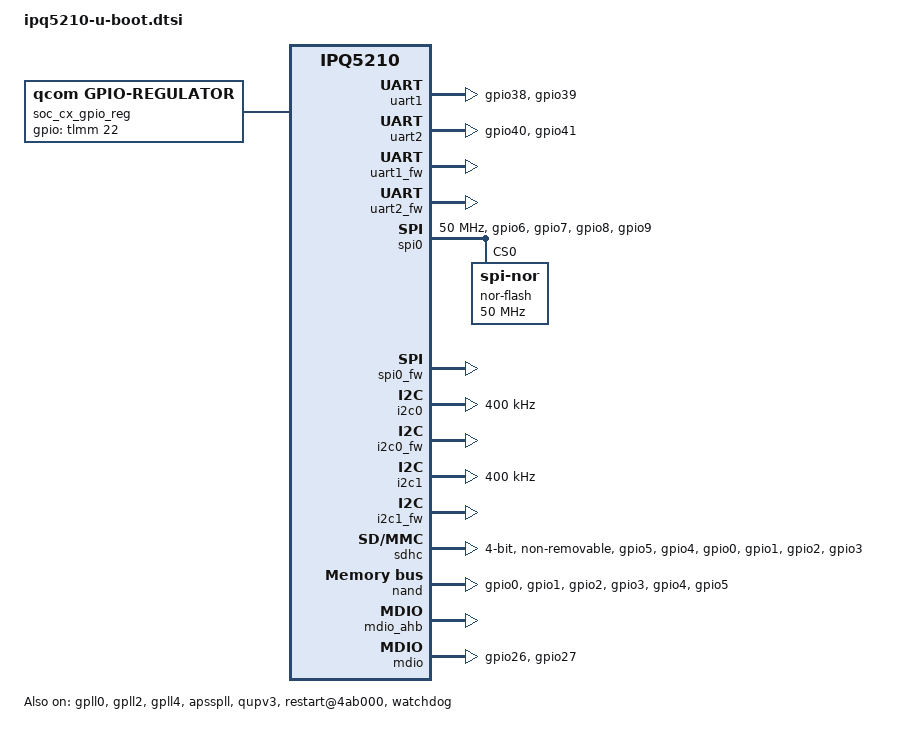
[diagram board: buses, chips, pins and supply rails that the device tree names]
// SPDX-License-Identifier: GPL-2.0+
/*
 * Copyright (c) Qualcomm Technologies, Inc. and/or its subsidiaries.
 */

#include <dt-bindings/interrupt-controller/arm-gic.h>
#include <asm/arch/dt-bindings/clock/qcom,ipq5210-gcc.h>
#include <asm/arch/dt-bindings/reset/qcom,ipq5210-gcc.h>
#include <dt-bindings/gpio/gpio.h>
#include <dt-bindings/net/qcom_ipqsoc.h>
/ {
	bootph-all;

	#address-cells = <2>;
	#size-cells = <2>;
	interrupt-parent = <&intc>;

	aliases {
		uart2 = &uart2;
	};

	clocks {
		sleep_clk: sleep-clk {
			compatible = "fixed-clock";
			#clock-cells = <0>;
			clock-frequency = <32000>;
		};
	};

	chosen {
		stdout-path = "serial0:115200n8";
#ifdef CONFIG_BOOT_BANK_FIXUP
		u-boot,booted-bank = "unknown,bootbank";
#endif
	};

	reserved-memory {
		#address-cells = <2>;
		#size-cells = <2>;
		ranges;

		/delete-node/ smem;
		smem_mem: smem_region@87c00000 {
			bootph-all;
			reg = <0x0 0x87c00000 0x0 0x40000>;
			no-map;
		};

		optee@87d80000 {
			reg = <0x0 0x87d80000 0x0 0x280000>;
			no-map;
		};
	};

	firmware {
		optee {
			compatible = "linaro,optee-tz";
			method = "smc";
			status = "disabled";
		};
	};

	smem {
		bootph-all;
		compatible = "qcom,smem";
		memory-region = <&smem_mem>;
	};

	psci {
		compatible = "arm,psci-1.0";
		method = "smc";
	};

	soc_cx_gpio_reg: soc-cx-gpio-regulator {
		bootph-pre-ram;
		compatible = "qcom,gpio-regulator";
		regulator-name = "soc_cx";
		regulator-min-microvolt = <850000>;
		regulator-max-microvolt = <920000>;
		gpios = <&tlmm 22 GPIO_ACTIVE_HIGH>;
		states = <
			850000 0x0
			920000 0x1
		>;
	};

	voltage_control: voltage-control {
		bootph-pre-ram;
		compatible = "qcom,ipq5210-fuse-voltage-control",
			     "qcom,fuse-voltage-control";

		soc_cx_vc: soc_cx {
			bootph-pre-ram;
			qcom,rail-name = "soc_cx";
			qcom,backend = "gpio";
			qcom,mode = "nominal";
			regulator = <&soc_cx_gpio_reg>;
		};
	};

	soc@0 {
		bootph-all;
		compatible = "simple-bus";
		#address-cells = <2>;
		#size-cells = <2>;
		ranges = <0 0 0 0 0x10 0>;

		tlmm: pinctrl@1000000 {
			bootph-all;
			compatible = "qcom,ipq5210-tlmm";
			reg = <0 0x01000000 0 0x300000>;
			gpio-controller;
			#gpio-cells = <2>;
			gpio-ranges = <&tlmm 0 0 53>;
			interrupt-controller;
			#interrupt-cells = <2>;

			uart1_pins: uart1-state {
				bootph-all;

				rx-pins {
					pins = "gpio38";
					function = "qup_se1_l3";
					drive-strength = <6>;
					bias-pull-down;
					bootph-all;
				};

				tx-pins {
					pins = "gpio39";
					function = "qup_se1_l2";
					drive-strength = <6>;
					bias-pull-down;
					bootph-all;
				};
			};

			uart2_pins: uart2-state {
				tx-pins {
					pins = "gpio40";
					function = "qup_se4_l2";
					drive-strength = <6>;
					bias-pull-down;
					bootph-all;
				};

				rx-pins {
					pins = "gpio41";
					function = "qup_se4_l3";
					drive-strength = <6>;
					bias-pull-down;
					bootph-all;
				};
			};

		};

		intc: interrupt-controller@b000000 {
			bootph-all;
			compatible = "qcom,msm-qgic2";
			interrupt-controller;
			#interrupt-cells = <3>;
			reg = <0 0xb000000 0 0x1000>,  /*GICD*/
				<0 0xb002000 0 0x1000>,  /*GICC*/
				<0 0xb001000 0 0x1000>,  /*GICH*/
				<0 0xb004000 0 0x1000>;  /*GICV*/
			interrupts = <GIC_PPI 9 IRQ_TYPE_LEVEL_HIGH>;
			#address-cells = <1>;
			#size-cells = <1>;
		};

		tmel_qmp: tmel-qmp@32090000 {
			bootph-all;
			compatible = "qcom,tmel-qmp-mbox";
			reg = <0x0 0x32090000 0x0 0x20>,
			      <0x0 0x32091000 0x0 0x20>;
			reg-names = "mcore", "ucore";

			interrupts = <GIC_SPI 73 IRQ_TYPE_EDGE_RISING>;
			max_pkt_size = <0x18>;

			#mbox-cells = <0>;
			status = "disabled";
		};

		tmelcom: qcom,tmelcom {
			bootph-all;
			compatible = "qcom,tmelcom";
			mboxes = <&tmel_qmp>;
			mbox-names = "tmel-qmp-mbox";
			#clock-cells = <1>;
			#power-domain-cells = <1>;
			#reset-cells = <1>;
			status = "disabled";
		};

		gcc: clock-controller@1800000 {
			bootph-all;
			compatible = "qcom,ipq5210-gcc";
			reg = <0 0x01800000 0 0x40000>;
			#clock-cells = <1>;
			#reset-cells = <1>;
			#power-domain-cells = <1>;
		};

		gpll0: pll@1820000 {
			bootph-pre-ram;
			compatible = "qcom,ipq5210-clk-pll",
					"qcom,ipq-clk-pll";
			reg = <0 0x01820000 0 0x1000>;
			#clock-cells = <0>;
			clock-output-names = "gpll0";
			fsm-vote-addr = <0x0180B000>;
			fsm-vote-mask = <0x1>;
			status = "okay";
		};

		gpll2: pll@1821000 {
			bootph-pre-ram;
			compatible = "qcom,ipq5210-clk-pll",
					"qcom,ipq-clk-pll";
			reg = <0 0x01821000 0 0x1000>;
			#clock-cells = <0>;
			clock-output-names = "gpll2";
			fsm-vote-addr = <0x0180B000>;
			fsm-vote-mask = <0x2>;
			status = "okay";
		};

		gpll4: pll@1822000 {
			bootph-pre-ram;
			compatible = "qcom,ipq5210-clk-pll",
					"qcom,ipq-clk-pll";
			reg = <0 0x01822000 0 0x1000>;
			#clock-cells = <0>;
			clock-output-names = "gpll4";
			fsm-vote-addr = <0x0180B000>;
			fsm-vote-mask = <0x4>;
			status = "okay";
		};

		apsspll: pll@b116000 {
			bootph-pre-ram;
			compatible = "qcom,ipq5210-clk-pll",
					"qcom,ipq-clk-pll";
			reg = <0 0x0b116000 0 0x1000>;
			clock-output-names = "apsspll";
			status = "okay";
		};

		apss_cpu: apss-cpu-clock@b111000 {
			bootph-pre-ram;
			compatible = "qcom,ipq5210-apss";
			reg = <0 0x0b111000 0 0x1000>;
			#clock-cells = <1>;
		};

		pll_init: qcom,ipq-init-plls {
			bootph-pre-ram;
			compatible = "qcom,ipq-init-plls";
			plls = <&gpll0 &gpll2 &gpll4 &apsspll>;
			status = "okay";
		};

		board_init_clks: qcom,ipq-init-clks {
			bootph-pre-ram;
			compatible = "qcom,ipq-init-clks";

			clocks = <&gcc GCC_APCS_CLOCK_BRANCH_ENA_VOTE>,
				 <&gcc GCC_APSS_DBG_CLK>,
				 <&gcc GCC_APSS_TS_CLK>,
				 <&gcc GCC_SNOC_QOSGEN_EXTREF_CLK>,
				 <&gcc GCC_SYS_NOC_AT_CLK>,
				 <&gcc GCC_SNOC_XO_DCD_CLK>,
				 <&gcc GCC_SNOC_TS_CLK>,
				 <&gcc GCC_PCNOC_AT_CLK>,
				 <&gcc GCC_PCNOC_TS_CLK>,
				 <&gcc GCC_CNOC_QOSGEN_EXTREF_CLK>;

			assigned-clocks = <&apss_cpu APCS_ALIAS0_CLK>,
					  <&gcc GCC_PCNOC_BFDCD_CLK>,
					  <&gcc GCC_SYSTEM_NOC_BFDCD_CLK>,
					  <&gcc GCC_APSS_AXI_CLK>,
					  <&gcc GCC_APSS_AHB_CLK>,
					  <&gcc GCC_QDSS_TSCTR_CLK>,
					  <&gcc GCC_QDSS_AT_CLK>;
			assigned-clock-rates = <1416000000>,
					       <100000000>,
					       <266666666>,
					       <800000000>,
					       <100000000>,
					       <600000000>,
					       <240000000>;

			clock-names = "apcs_branch_vote",
					"pcnoc_bfdcd",
					"sysnoc_bfdcd";

			status = "okay";
		};

		nsscc: clock-controller@39b00000 {
			compatible = "qcom,ipq5210-gcc", "qcom,ipq5210-nsscc";
			reg = <0x0 0x39b00000 0x0 0x100000>;
			#clock-cells = <1>;
			#reset-cells = <1>;
			#power-domain-cells = <1>;
		};

		qupv3: geniqup@1ac0000 {
			compatible = "qcom,geni-se-qup";
			reg = <0 0x01ac0000 0 0x2000>;
			clocks = <&gcc GCC_QUPV3_AHB_MST_CLK>,
				 <&gcc GCC_QUPV3_AHB_SLV_CLK>;
			clock-names = "m-ahb", "s-ahb";
			ranges;
			#address-cells = <2>;
			#size-cells = <2>;

			status = "disabled";

			uart1: serial@1a84000 {
				compatible = "qcom,geni-debug-uart";
				reg = <0 0x1a84000 0 0x4000>;
				clocks = <&gcc GCC_QUPV3_UART1_CLK>;
				clock-names = "se";
				status = "disabled";
			};

			uart2: serial@1a90000 {
				compatible = "qcom,geni-debug-uart";
				reg = <0 0x1a90000 0 0x4000>;
				clocks = <&gcc GCC_QUPV3_UART2_CLK>;
				clock-names = "se";
				status = "disabled";
			};
		};

		sdhc: mmc@7804000 {
			compatible = "qcom,ipq5210-sdhci", "qcom,sdhci-msm-v5";
			reg = <0 0x07804000 0 0x1000>, <0 0x07805000 0 0x1000>;
			reg-names = "hc", "cqhci";

			clocks = <&gcc GCC_SDCC1_AHB_CLK>,
				 <&gcc GCC_SDCC1_APPS_CLK>;
			clock-names = "iface", "core";

			status = "disabled";
		};

		qmp_ssphy_0: ssphy@7D000 {
			compatible = "qcom,ipq9574-qmp-usb3-phy";
			#address-cells = <2>;
			#size-cells = <2>;
			reg = <0x0 0x7D000 0x0 0x1C4>,
				<0x0 0x7D200 0x0 0x130>,
				<0x0 0x7D400 0x0 0x200>,
				<0x0 0x7D800 0x0 0x1F8>;
			reg-names = "com_base", "tx_base",
				"rx_base", "pcs_base";
			clocks = <&gcc GCC_USB0_PIPE_CLK>;
			#phy-cells = <0>;
			resets =  <&gcc GCC_USB0_PHY_BCR>,
			       <&gcc GCC_USB3PHY_0_PHY_BCR>;
			status = "disabled";
		};

		qusb2_phy_0: qusb2_0@7B000 {
			compatible = "qcom,ipq9574-qusb2-phy";
			#address-cells = <2>;
			#size-cells = <2>;
			reg = <0x0 0x07B000 0x0 0x180>;
			#phy-cells = <0>;
			clocks = <&gcc GCC_USB0_PHY_CFG_AHB_CLK>;
			clock-names = "cfg_ahb";

			resets = <&gcc GCC_QUSB2_0_PHY_BCR>;
			status = "disabled";
		};

		usb3_0: usb3_0@8af8800 {
			compatible = "qcom,ipq5210-dwc3", "qcom,dwc3";
			reg = <0x0 0x8af8800 0x0 0x100>;
			#address-cells = <2>;
			#size-cells = <2>;
			assigned-clocks = <&gcc GCC_USB0_MASTER_CLK>,
				<&gcc GCC_USB0_MOCK_UTMI_CLK>,
				<&gcc GCC_USB0_AUX_CLK>;
			assigned-clock-rates = <200000000>,
				<24000000>,
				<24000000>;
			clocks = <&gcc GCC_USB0_MASTER_CLK>,
				<&gcc GCC_USB0_AUX_CLK>,
				<&gcc GCC_USB0_SLEEP_CLK>,
				<&gcc GCC_USB0_MOCK_UTMI_CLK>,
				<&gcc GCC_USB0_PHY_CFG_AHB_CLK>;
			clock-names = "master",
				"aux",
				"sleep",
				"ref",
				"cfg_ahb";
			resets = <&gcc GCC_USB_BCR>;
			ranges;
			status = "disabled";

			dwc3@8a00000 {
				compatible = "snps,dwc3";
				reg = <0x0 0x8a00000 0x0 0xf8000>;
				clocks = <&gcc GCC_USB0_MOCK_UTMI_CLK>;
				clock-names = "ref";
				dr_mode = "host";
				snps,dis_u2_susphy_quirk;
				snps,dis_u3_susphy_quirk;
				phys = <&qusb2_phy_0>, <&qmp_ssphy_0>;
				phy-names = "usb2-phy", "usb3-phy";
				maximum-speed = "super-speed";
			};
		};

		/*
		* usb3_1 node configuration makes usb 3.0 controller
		* to use usb 3.0 devices as usb 2.0 device
		*/
		usb3_1: usb3_1@8af8800 {
			compatible = "qcom,ipq5210-dwc3", "qcom,dwc3";
			reg = <0x0 0x8af8800 0x0 0x100>;
			#address-cells = <2>;
			#size-cells = <2>;
			assigned-clocks = <&gcc GCC_USB0_MASTER_CLK>,
				<&gcc GCC_USB0_MOCK_UTMI_CLK>,
				<&gcc GCC_USB0_AUX_CLK>;
			assigned-clock-rates = <200000000>,
				<24000000>,
				<24000000>;
			clocks = <&gcc GCC_USB0_MASTER_CLK>,
				<&gcc GCC_USB0_AUX_CLK>,
				<&gcc GCC_USB0_SLEEP_CLK>,
				<&gcc GCC_USB0_MOCK_UTMI_CLK>,
				<&gcc GCC_USB0_PHY_CFG_AHB_CLK>;
			clock-names = "master",
				"aux",
				"sleep",
				"ref",
				"cfg_ahb";
			resets = <&gcc GCC_USB_BCR>;
			ranges;
			qcom,select-utmi-as-pipe-clk;
			status = "disabled";

			dwc3@8a00000 {
				compatible = "snps,dwc3";
				reg = <0x0 0x8a00000 0x0 0xf8000>;
				clocks = <&gcc GCC_USB0_MOCK_UTMI_CLK>;
				clock-names = "ref";
				dr_mode = "host";
				snps,dis_u2_susphy_quirk;
				snps,dis_u3_susphy_quirk;
				phys = <&qusb2_phy_0>;
				phy-names = "usb2-phy";
				maximum-speed = "high-speed";
			};
		};

		nand: nand-controller@79B0000 {
			bootph-all;
			compatible = "qti,spi-nand-v2.1.3";
			#address-cells = <2>;
			#size-cells = <2>;
			reg = <0x0 0x79B0000 0x0 0x10000>;
			assigned-clocks = <&gcc GCC_QPIC_CLK>,
					 <&gcc GCC_QPIC_IO_MACRO_CLK>;
			assigned-clock-rates = <100000000>, <200000000>;
			clock-names = "qpic-clk",
				      "qpic-io-macro-clk",
				      "qpic-ahb-clk";
			clocks = <&gcc GCC_QPIC_CLK>,
				<&gcc GCC_QPIC_IO_MACRO_CLK>,
				<&gcc GCC_QPIC_AHB_CLK>;

			bam_reg = <0x07984000>;
			status_pipe = <3>;
			status_pipe_grp = <0>;
			read_pipe = <1>;
			read_pipe_grp = <0>;
			write_pipe = <0>;
			write_pipe_grp = <0>;
			cmd_pipe = <2>;
			cmd_pipe_grp = <1>;
			serial_training;
			pinctrl-0 = <&qspi_pinmux>;
			pinctrl-names = "default";
			status = "okay";
		};

		restart@4ab000 {
			bootph-pre-ram;
			compatible = "qcom,pshold";
			reg = <0x0 0x4AB000 0x0 0x4>;
			status = "okay";
		};

		pcie0_phy: phy@84000 {
			compatible = "qcom,ipq5210-qmp-gen3x1-pcie-phy",
				     "qcom,ipq9574-qmp-gen3x1-pcie-phy";
			reg = <0x0 0x00084000 0x0 0x1bc>; /* Serdes PLL */
			#address-cells = <1>;
			#size-cells = <1>;

			clocks = <&gcc GCC_PCIE0_AUX_CLK>,
				 <&gcc GCC_PCIE0_AHB_CLK>,
				 <&gcc GCC_PCIE0_RCHNG_CLK>,
				 <&gcc GCC_PCIE0_PIPE_CLK>,
				 <&gcc GCC_SNOC_PCIE0_AXI_M_CLK>,
				 <&gcc GCC_CNOC_PCIE0_1LANE_S_CLK>;
			clock-names = "aux", "cfg_ahb", "rchng", "pipe",
					"axi_m", "lane_s";

			resets = <&gcc GCC_PCIE0_PHY_BCR>,
				 <&gcc GCC_PCIE0PHY_PHY_BCR>;
			reset-names = "phy", "common";

			#phy-cells = <0>;
			status = "disabled";
		};

		pcie1_phy: phy@f4000 {
			compatible = "qcom,ipq5210-qmp-gen3x2-pcie-phy",
				     "qcom,ipq9574-qmp-gen3x2-pcie-phy";
			reg = <0x0 0x000f4000 0x0 0x1bc>; /* Serdes PLL */
			#address-cells = <1>;
			#size-cells = <1>;

			clocks = <&gcc GCC_PCIE1_AUX_CLK>,
				 <&gcc GCC_PCIE1_AHB_CLK>,
				 <&gcc GCC_PCIE1_RCHNG_CLK>,
				 <&gcc GCC_PCIE1_PIPE_CLK>,
				 <&gcc GCC_SNOC_PCIE1_AXI_M_CLK>,
				 <&gcc GCC_CNOC_PCIE1_2LANE_S_CLK>;
			clock-names = "aux", "cfg_ahb", "rchng", "pipe",
					"axi_m","lane_s";

			resets = <&gcc GCC_PCIE1_PHY_BCR>,
				 <&gcc GCC_PCIE1PHY_PHY_BCR>;
			reset-names = "phy", "common";

			#phy-cells = <0>;
			status = "disabled";
		};

		/* 1L controller */
		pcie0: pcie@70000000 {
			compatible = "qcom,pcie-ipq5210";
			reg =  <0x0 0x70000000 0x0 0xf1d>,
			       <0x0 0x70000f20 0x0 0xa8>,
			       <0x0 0x70001000 0x0 0x1000>,
			       <0x0 0x80000 0x0 0x3000>,
			       <0x0 0x70100000 0x0 0x1000>;
			reg-names = "dbi", "elbi", "atu", "parf", "config";
			device_type = "pci";
			linux,pci-domain = <0>;
			bus-range = <0x00 0xff>;
			num-lanes = <1>;
			#address-cells = <3>;
			#size-cells = <2>;
			axi-halt-val = <0x1e>; /* increase halt window size to 1GB */
			id = <0>;

			ranges = <0x81000000 0 0x70200000 0x0 0x70200000 0 0x00100000>,   /* downstream I/O */
				 <0x82000000 0 0x70300000 0x0 0x70300000 0 0x0fd00000>; /* non-prefetchable memory */

			clocks = <&gcc GCC_PCIE0_AXI_M_CLK>,
				 <&gcc GCC_PCIE0_AXI_S_CLK>,
				 <&gcc GCC_PCIE0_AHB_CLK>,
				 <&gcc GCC_PCIE0_AUX_CLK>,
				 <&gcc GCC_PCIE0_AXI_S_BRIDGE_CLK>;

			clock-names = "axi_m",
				      "axi_s",
				      "ahb",
				      "aux",
				      "axi_bridge";

			assigned-clocks = <&gcc GCC_PCIE0_AUX_CLK>,
					<&gcc GCC_PCIE0_AXI_M_CLK>,
					<&gcc GCC_PCIE0_AXI_S_CLK>,
					<&gcc GCC_PCIE0_RCHNG_CLK>;

			assigned-clock-rates = <20000000>,
						<240000000>,
						<240000000>,
						<100000000>;

			resets = <&gcc GCC_PCIE0_PIPE_ARES>,
				 <&gcc GCC_PCIE0_CORE_STICKY_RESET>,
				 <&gcc GCC_PCIE0_AXI_M_ARES>,
				 <&gcc GCC_PCIE0_AXI_S_ARES>,
				 <&gcc GCC_PCIE0_AXI_M_STICKY_RESET>,
				 <&gcc GCC_PCIE0_AXI_S_STICKY_RESET>,
				 <&gcc GCC_PCIE0_AHB_ARES>,
				 <&gcc GCC_PCIE0_AUX_ARES>;

			reset-names = "pipe",
				      "sticky",
				      "axi_m",
				      "axi_s",
				      "axi_m_sticky",
				      "axi_s_sticky",
				      "ahb",
				      "aux";

			msi-parent = <&intc>;

			phys = <&pcie0_phy>;
			phy-names = "pciephy";

			status = "disabled";
		};

		/* 2L controller */
		pcie1: pcie@50000000 {
			compatible = "qcom,pcie-ipq5210";
			reg =  <0x0 0x50000000 0x0 0xf1d>,
			       <0x0 0x50000f20 0x0 0xa8>,
			       <0x0 0x50001000 0x0 0x1000>,
			       <0x0 0xf0000 0x0 0x3000>,
			       <0x0 0x50100000 0x0 0x1000>;
			reg-names = "dbi", "elbi", "atu", "parf", "config";
			device_type = "pci";
			linux,pci-domain = <1>;
			bus-range = <0x00 0xff>;
			num-lanes = <2>;
			#address-cells = <3>;
			#size-cells = <2>;
			axi-halt-val = <0x1e>; /* increase halt window size to 1GB */
			id = <1>;

			ranges = <0x81000000 0 0x50200000 0x0 0x50200000 0 0x00100000>,   /* downstream I/O */
				 <0x82000000 0 0x50300000 0x0 0x50300000 0 0x0fd00000>; /* non-prefetchable memory */

			clocks = <&gcc GCC_PCIE1_AXI_M_CLK>,
				 <&gcc GCC_PCIE1_AXI_S_CLK>,
				 <&gcc GCC_PCIE1_AHB_CLK>,
				 <&gcc GCC_PCIE1_AUX_CLK>,
				 <&gcc GCC_PCIE1_AXI_S_BRIDGE_CLK>;

			clock-names = "axi_m",
				      "axi_s",
				      "ahb",
				      "aux",
				      "axi_bridge";

			assigned-clocks = <&gcc GCC_PCIE1_AUX_CLK>,
					<&gcc GCC_PCIE1_AXI_M_CLK>,
					<&gcc GCC_PCIE1_AXI_S_CLK>,
					<&gcc GCC_PCIE1_RCHNG_CLK>;

			assigned-clock-rates = <20000000>,
						<266666666>,
						<240000000>,
						<100000000>;

			resets = <&gcc GCC_PCIE1_PIPE_ARES>,
				 <&gcc GCC_PCIE1_CORE_STICKY_RESET>,
				 <&gcc GCC_PCIE1_AXI_M_ARES>,
				 <&gcc GCC_PCIE1_AXI_S_ARES>,
				 <&gcc GCC_PCIE1_AXI_M_STICKY_RESET>,
				 <&gcc GCC_PCIE1_AXI_S_STICKY_RESET>,
				 <&gcc GCC_PCIE1_AHB_ARES>,
				 <&gcc GCC_PCIE1_AUX_ARES>;

			reset-names = "pipe",
				      "sticky",
				      "axi_m",
				      "axi_s",
				      "axi_m_sticky",
				      "axi_s_sticky",
				      "ahb",
				      "aux";

			msi-parent = <&intc>;

			phys = <&pcie1_phy>;
			phy-names = "pciephy";

			status = "disabled";
		};

		mdio_ahb: mdio-ahb@1400000 {
			status = "okay";
			compatible = "qcom,mdio-ahb-ipq52xx";
			reg = <0x0 0x1400000 0x0 0x200000>;
			clocks = <&gcc GCC_GEPHY_SYS_CLK>,
				 <&gcc GCC_MDIO_GEPHY_AHB_CLK>;
			clock-names = "gephy_sys_clk",
				      "mdio_ahb_clk";
		};

		mdio: mdio@90000 {
			#address-cells = <1>;
			#size-cells = <1>;
			compatible = "qcom,ipq4019-mdio";
			pinctrl-0 = <&mdio_pins>;
			pinctrl-names = "default";
			reg = <0x00000000 0x00090000 0x00000000 0x00000064>;
			clocks = <&gcc GCC_MDIO_AHB_CLK>;
			clk_div = /bits/ 8 <15>;
			status = "okay";
		};

		ess_instance: ess-instance {
			compatible = "qcom,ipq-nss-switchv2";
			#address-cells = <1>;
			#size-cells = <1>;
			reg = <0x0 0x3AD00000 0x0 0x000EF800>,
			      <0x0 0x3A000000 0x0 0x01000000>,
			      <0x0 0x07A00000 0x0 0x00010000>;
			reg-names = "edma_hw", "ppe_base", "uniphy_base";

			tdm_mode = <1>;
			bridge_mode;
			status = "disabled";

			assigned-clocks = <&nsscc NSS_CC_PPE_SWITCH_CFG_CLK>,
					  <&gcc GCC_NSSNOC_NSSCC_CLK>,
					  <&nsscc NSS_CC_EIP_BFDCD_CLK>,
					  <&nsscc NSS_CC_CFG_CLK>;
			assigned-clock-rates = <429000000>,
					       <429000000>,
					       <429000000>,
					       <100000000>;

			clocks = <&gcc GCC_IM_SLEEP_CLK>,
				<&gcc GCC_CMN_12GPLL_AHB_CLK>,
				<&gcc GCC_CMN_12GPLL_APU_CLK>,
				<&gcc GCC_CMN_12GPLL_SYS_CLK>,
				<&gcc GCC_UNIPHY0_AHB_CLK>,
				<&gcc GCC_UNIPHY0_SYS_CLK>,
				<&gcc GCC_UNIPHY1_AHB_CLK>,
				<&gcc GCC_UNIPHY1_SYS_CLK>,
				<&gcc GCC_UNIPHY2_AHB_CLK>,
				<&gcc GCC_UNIPHY2_SYS_CLK>,
				<&gcc GCC_NSSNOC_NSSCC_CLK>,
				<&gcc GCC_NSSCC_CLK>,
				<&gcc GCC_NSSNOC_SNOC_1_CLK>,
				<&gcc GCC_NSSNOC_SNOC_CLK>,
				<&gcc GCC_NSSNOC_MEMNOC_CLK>,
				<&nsscc NSS_CC_NSS_CSR_CLK>,
				<&nsscc NSS_CC_NSSNOC_NSS_CSR_CLK>,
				<&nsscc NSS_CC_CE_APB_CLK>,
				<&nsscc NSS_CC_PORT1_MAC_CLK>,
				<&nsscc NSS_CC_PORT2_MAC_CLK>,
				<&nsscc NSS_CC_PORT3_MAC_CLK>,
				<&nsscc NSS_CC_PORT4_MAC_CLK>,
				<&nsscc NSS_CC_PORT5_MAC_CLK>,
				<&nsscc NSS_CC_PORT6_MAC_CLK>,
				<&nsscc NSS_CC_PPE_SWITCH_CLK>,
				<&nsscc NSS_CC_PPE_SWITCH_CFG_CLK>,
				<&nsscc NSS_CC_NSSNOC_PPE_CLK>,
				<&nsscc NSS_CC_NSSNOC_PPE_CFG_CLK>,
				<&nsscc NSS_CC_PPE_EDMA_CLK>,
				<&nsscc NSS_CC_PPE_EDMA_CFG_CLK>,
				<&nsscc NSS_CC_PPE_SWITCH_IPE_CLK>,
				<&nsscc NSS_CC_PPE_SWITCH_BTQ_CLK>,
				<&nsscc NSS_CC_PORT1_RX_CLK>,
				<&nsscc NSS_CC_PORT1_TX_CLK>,
				<&nsscc NSS_CC_PORT2_RX_CLK>,
				<&nsscc NSS_CC_PORT2_TX_CLK>,
				<&nsscc NSS_CC_PORT3_RX_CLK>,
				<&nsscc NSS_CC_PORT3_TX_CLK>,
				<&nsscc NSS_CC_PORT4_RX_CLK>,
				<&nsscc NSS_CC_PORT4_TX_CLK>,
				<&nsscc NSS_CC_PORT4_UNIPHY1_RX_CLK>,
				<&nsscc NSS_CC_PORT4_UNIPHY1_TX_CLK>,
				<&nsscc NSS_CC_PORT5_RX_CLK>,
				<&nsscc NSS_CC_PORT5_TX_CLK>,
				<&nsscc NSS_CC_PORT5_UNIPHY0_RX_CLK>,
				<&nsscc NSS_CC_PORT5_UNIPHY0_TX_CLK>,
				<&nsscc NSS_CC_PORT6_RX_CLK>,
				<&nsscc NSS_CC_PORT6_TX_CLK>,
				<&nsscc NSS_CC_UNIPHY_PORT1_RX_CLK>,
				<&nsscc NSS_CC_UNIPHY_PORT1_TX_CLK>,
				<&nsscc NSS_CC_UNIPHY_PORT1_RX_DIV4_CLK>,
				<&nsscc NSS_CC_UNIPHY_PORT1_TX_DIV4_CLK>,
				<&nsscc NSS_CC_UNIPHY_PORT2_RX_CLK>,
				<&nsscc NSS_CC_UNIPHY_PORT2_TX_CLK>,
				<&nsscc NSS_CC_UNIPHY_PORT2_RX_DIV4_CLK>,
				<&nsscc NSS_CC_UNIPHY_PORT2_TX_DIV4_CLK>,
				<&nsscc NSS_CC_UNIPHY_PORT3_RX_CLK>,
				<&nsscc NSS_CC_UNIPHY_PORT3_TX_CLK>,
				<&nsscc NSS_CC_UNIPHY_PORT3_RX_DIV4_CLK>,
				<&nsscc NSS_CC_UNIPHY_PORT3_TX_DIV4_CLK>,
				<&nsscc NSS_CC_UNIPHY_PORT4_RX_CLK>,
				<&nsscc NSS_CC_UNIPHY_PORT4_TX_CLK>,
				<&nsscc NSS_CC_UNIPHY_PORT4_RX_DIV4_CLK>,
				<&nsscc NSS_CC_UNIPHY_PORT4_TX_DIV4_CLK>,
				<&nsscc NSS_CC_UNIPHY_PORT5_RX_CLK>,
				<&nsscc NSS_CC_UNIPHY_PORT5_TX_CLK>,
				<&nsscc NSS_CC_UNIPHY_PORT6_RX_CLK>,
				<&nsscc NSS_CC_UNIPHY_PORT6_TX_CLK>,
			        <&nsscc NSS_CC_EIP_BFDCD_CLK>,
			        <&nsscc NSS_CC_CFG_CLK>,
			        <&nsscc NSS_CC_NSSNOC_EIP_CLK>,
				<&nsscc NSS_CC_XGMAC0_PTP_REF_CLK>,
				<&nsscc NSS_CC_XGMAC1_PTP_REF_CLK>,
				<&nsscc NSS_CC_XGMAC2_PTP_REF_CLK>;

			clock-names = "gcc_im_sleep_clk",
				"cmn_ahb_clk",
				"cmn_apu_clk",
				"cmn_sys_clk",
				"uniphy0_ahb_clk",
				"uniphy0_sys_clk",
				"uniphy1_ahb_clk",
				"uniphy1_sys_clk",
				"uniphy2_ahb_clk",
				"uniphy2_sys_clk",
				"gcc_nssccnoc_nsscc_clk",
				"gcc_nsscc_clk",
				"gcc_nssnoc_snoc_1_clk",
				"gcc_nssnoc_snoc_clk",
				"gcc_nssnoc_memnoc_clk",
				"nss_csr_clk",
				"nssnoc_nss_csr_clk",
				"nss_ce_apb_clk",
				"port1_mac_clk",
				"port2_mac_clk",
				"port3_mac_clk",
				"port4_mac_clk",
				"port5_mac_clk",
				"port6_mac_clk",
				"nss_ppe_clk",
				"nss_ppe_cfg_clk",
				"nssnoc_ppe_clk",
				"nssnoc_ppe_cfg_clk",
				"nss_edma_clk",
				"nss_edma_cfg_clk",
				"nss_ppe_ipe_clk",
				"nss_ppe_btq_clk",
				"nss_port1_rx_clk",
				"nss_port1_tx_clk",
				"nss_port2_rx_clk",
				"nss_port2_tx_clk",
				"nss_port3_rx_clk",
				"nss_port3_tx_clk",
				"nss_port4_rx_clk",
				"nss_port4_tx_clk",
				"nss_port4_uniphy1_rx_clk",
				"nss_port4_uniphy1_tx_clk",
				"nss_port5_rx_clk",
				"nss_port5_tx_clk",
				"nss_port5_uniphy0_rx_clk",
				"nss_port5_uniphy0_tx_clk",
				"nss_port6_rx_clk",
				"nss_port6_tx_clk",
				"uniphy0_port1_rx_clk",
				"uniphy0_port1_tx_clk",
				"uniphy0_port1_rx_div4_clk",
				"uniphy0_port1_tx_div4_clk",
				"uniphy0_port2_rx_clk",
				"uniphy0_port2_tx_clk",
				"uniphy0_port2_rx_div4_clk",
				"uniphy0_port2_tx_div4_clk",
				"uniphy0_port3_rx_clk",
				"uniphy0_port3_tx_clk",
				"uniphy0_port3_rx_div4_clk",
				"uniphy0_port3_tx_div4_clk",
				"uniphy0_port4_rx_clk",
				"uniphy0_port4_tx_clk",
				"uniphy0_port4_rx_div4_clk",
				"uniphy0_port4_tx_div4_clk",
				"uniphy1_port5_rx_clk",
				"uniphy1_port5_tx_clk",
				"uniphy2_port6_rx_clk",
				"uniphy2_port6_tx_clk",
				"nss_cc_eip_bfdcd_clk",
				"nss_cc_clk",
				"nss_cc_nssnoc_eip_clk",
				"xgmac0_ptp_ref_clk",
				"xgmac1_ptp_ref_clk",
				"xgmac2_ptp_ref_clk";

			resets = <&nsscc NSS_CC_PPE_BCR>,
				<&nsscc NSS_CC_PPE_EDMA_CLK_ARES>,
				<&nsscc NSS_CC_PPE_EDMA_CFG_CLK_ARES>,
				<&gcc GCC_UNIPHY0_BCR>,
				<&gcc GCC_UNIPHY1_BCR>,
				<&gcc GCC_UNIPHY2_BCR>,
				<&gcc GCC_UNIPHY0_AHB_ARES>,
				<&gcc GCC_UNIPHY1_AHB_ARES>,
				<&gcc GCC_UNIPHY2_AHB_ARES>,
				<&gcc GCC_UNIPHY0_SYS_ARES>,
				<&gcc GCC_UNIPHY1_SYS_ARES>,
				<&gcc GCC_UNIPHY2_SYS_ARES>,
				<&gcc GCC_UNIPHY0_XPCS_ARES>,
				<&gcc GCC_UNIPHY1_XPCS_ARES>,
				<&gcc GCC_UNIPHY2_XPCS_ARES>,
				<&nsscc NSS_CC_UNIPHY_PORT1_RX_CLK_ARES>,
				<&nsscc NSS_CC_UNIPHY_PORT1_TX_CLK_ARES>,
				<&nsscc NSS_CC_UNIPHY_PORT1_RX_CLK_DIV4_ARES>,
				<&nsscc NSS_CC_UNIPHY_PORT1_TX_CLK_DIV4_ARES>,
				<&nsscc NSS_CC_UNIPHY_PORT2_RX_CLK_ARES>,
				<&nsscc NSS_CC_UNIPHY_PORT2_TX_CLK_ARES>,
				<&nsscc NSS_CC_UNIPHY_PORT2_RX_CLK_DIV4_ARES>,
				<&nsscc NSS_CC_UNIPHY_PORT2_TX_CLK_DIV4_ARES>,
				<&nsscc NSS_CC_UNIPHY_PORT3_RX_CLK_ARES>,
				<&nsscc NSS_CC_UNIPHY_PORT3_TX_CLK_ARES>,
				<&nsscc NSS_CC_UNIPHY_PORT3_RX_CLK_DIV4_ARES>,
				<&nsscc NSS_CC_UNIPHY_PORT3_TX_CLK_DIV4_ARES>,
				<&nsscc NSS_CC_UNIPHY_PORT4_RX_CLK_ARES>,
				<&nsscc NSS_CC_UNIPHY_PORT4_TX_CLK_ARES>,
				<&nsscc NSS_CC_UNIPHY_PORT4_RX_CLK_DIV4_ARES>,
				<&nsscc NSS_CC_UNIPHY_PORT4_TX_CLK_DIV4_ARES>,
				<&nsscc NSS_CC_UNIPHY_PORT5_RX_CLK_ARES>,
				<&nsscc NSS_CC_UNIPHY_PORT5_TX_CLK_ARES>,
				<&nsscc NSS_CC_UNIPHY_PORT6_RX_CLK_ARES>,
				<&nsscc NSS_CC_UNIPHY_PORT6_TX_CLK_ARES>,
				<&nsscc NSS_CC_PORT1_RX_CLK_ARES>,
				<&nsscc NSS_CC_PORT1_TX_CLK_ARES>,
				<&nsscc NSS_CC_PORT2_RX_CLK_ARES>,
				<&nsscc NSS_CC_PORT2_TX_CLK_ARES>,
				<&nsscc NSS_CC_PORT3_RX_CLK_ARES>,
				<&nsscc NSS_CC_PORT3_TX_CLK_ARES>,
				<&nsscc NSS_CC_PORT4_RX_CLK_ARES>,
				<&nsscc NSS_CC_PORT4_TX_CLK_ARES>,
				<&nsscc NSS_CC_PORT5_RX_CLK_ARES>,
				<&nsscc NSS_CC_PORT5_TX_CLK_ARES>,
				<&nsscc NSS_CC_PORT6_RX_CLK_ARES>,
				<&nsscc NSS_CC_PORT6_TX_CLK_ARES>,
				<&nsscc NSS_CC_PORT1_MAC_CLK_ARES>,
				<&nsscc NSS_CC_PORT2_MAC_CLK_ARES>,
				<&nsscc NSS_CC_PORT3_MAC_CLK_ARES>,
				<&nsscc NSS_CC_PORT4_MAC_CLK_ARES>,
				<&nsscc NSS_CC_PORT5_MAC_CLK_ARES>,
				<&nsscc NSS_CC_PORT6_MAC_CLK_ARES>;

			reset-names = "ppe_rst",
				"ppe_edma_rst",
				"ppe_edma_cfg_rst",
				"uniphy0_soft_rst",
				"uniphy1_soft_rst",
				"uniphy2_soft_rst",
				"uniphy0_ahb_rst",
				"uniphy1_ahb_rst",
				"uniphy2_ahb_rst",
				"uniphy0_sys_rst",
				"uniphy1_sys_rst",
				"uniphy2_sys_rst",
				"uniphy0_xpcs_rst",
				"uniphy1_xpcs_rst",
				"uniphy2_xpcs_rst",
				"uniphy_port1_rx_rst",
				"uniphy_port1_tx_rst",
				"uniphy_port1_rx_div4_rst",
				"uniphy_port1_tx_div4_rst",
				"uniphy_port2_rx_rst",
				"uniphy_port2_tx_rst",
				"uniphy_port2_rx_div4_rst",
				"uniphy_port2_tx_div4_rst",
				"uniphy_port3_rx_rst",
				"uniphy_port3_tx_rst",
				"uniphy_port3_rx_div4_rst",
				"uniphy_port3_tx_div4_rst",
				"uniphy_port4_rx_rst",
				"uniphy_port4_tx_rst",
				"uniphy_port4_rx_div4_rst",
				"uniphy_port4_tx_div4_rst",
				"uniphy_port5_rx_rst",
				"uniphy_port5_tx_rst",
				"uniphy_port6_rx_rst",
				"uniphy_port6_tx_rst",
				"nss_port1_rx_rst",
				"nss_port1_tx_rst",
				"nss_port2_rx_rst",
				"nss_port2_tx_rst",
				"nss_port3_rx_rst",
				"nss_port3_tx_rst",
				"nss_port4_rx_rst",
				"nss_port4_tx_rst",
				"nss_port5_rx_rst",
				"nss_port5_tx_rst",
				"nss_port6_rx_rst",
				"nss_port6_tx_rst",
				"nss_port1_mac_rst",
				"nss_port2_mac_rst",
				"nss_port3_mac_rst",
				"nss_port4_mac_rst",
				"nss_port5_mac_rst",
				"nss_port6_mac_rst";

			port_scheduler_resource {
				port@0 {
					port_id = <0>;
					ucast_queue = <170 241>;
					mcast_queue = <256 263>;
					l0sp = <44 55>;
					l0cdrr = <170 241>;
					l0edrr = <170 241>;
					l1cdrr = <44 55>;
					l1edrr = <44 55>;
				};
				port@1 {
					port_id = <1>;
					ucast_queue = <0 7>;
					mcast_queue = <272 275>;
					l0sp = <0 1>;
					l0cdrr = <0 7>;
					l0edrr = <0 7>;
					l1cdrr = <0 1>;
					l1edrr = <0 1>;
				};
				port@2 {
					port_id = <2>;
					ucast_queue = <8 15>;
					mcast_queue = <276 279>;
					l0sp = <2 3>;
					l0cdrr = <8 15>;
					l0edrr = <8 15>;
					l1cdrr = <2 3>;
					l1edrr = <2 3>;
				};
				port@3 {
					port_id = <3>;
					ucast_queue = <16 23>;
					mcast_queue = <280 283>;
					l0sp = <4 5>;
					l0cdrr = <16 23>;
					l0edrr = <16 23>;
					l1cdrr = <4 5>;
					l1edrr = <4 5>;
				};
				port@4 {
					port_id = <4>;
					ucast_queue = <24 31>;
					mcast_queue = <284 287>;
					l0sp = <6 7>;
					l0cdrr = <24 31>;
					l0edrr = <24 31>;
					l1cdrr = <6 7>;
					l1edrr = <6 7>;
				};
				port@5 {
					port_id = <5>;
					ucast_queue = <32 39>;
					mcast_queue = <288 291>;
					l0sp = <8 9>;
					l0cdrr = <32 39>;
					l0edrr = <32 39>;
					l1cdrr = <8 9>;
					l1edrr = <8 9>;
				};
				port@6 {
					port_id = <6>;
					ucast_queue = <40 159>;
					mcast_queue = <292 295>;
					l0sp = <10 41>;
					l0cdrr = <40 159>;
					l0edrr = <40 159>;
					l1cdrr = <10 41>;
					l1edrr = <10 41>;
				};
				port@7 {
					port_id = <7>;
					ucast_queue = <160 169>;
					mcast_queue = <296 299>;
					l0sp = <42 43>;
					l0cdrr = <160 169>;
					l0edrr = <160 169>;
					l1cdrr = <42 43>;
					l1edrr = <42 43>;
				};
				reserved {
					ucast_queue = <242 255>;
					mcast_queue = <0 0>;
					l0sp = <56 63>;
					l0cdrr = <242 255>;
					l0edrr = <242 255>;
					l1cdrr = <56 63>;
					l1edrr = <56 63>;
				};
			};

			port_scheduler_config {
				port@0 {
					port_id = <0>;
					l1scheduler {
						group@0 {
							/* L0 SP */
							sp = <44>;
							sp_loop_pri = <11>;
							sp_max_pri = <1>;
							/* cpri cdrr epri edrr */
							cfg = <0 44 0 44>;
						};
					};
					l0scheduler {
						group@0 {
							/* unicast queue */
							ucast_queue = <170>;
							ucast_loop_pri = <48>;
							ucast_max_pri = <8>;
							/* multicast queue */
							mcast_queue = <256>;
							mcast_loop_pri = <8>;
							/* sp cpri cdrr epri edrr */
							cfg = <44 0 170 0 170>;
						};
						group@1 {
							ucast_queue = <218>;
							ucast_loop_pri = <4>;
							ucast_max_pri = <4>;
							mcast_queue = <260>;
							mcast_loop_pri = <8>;
							cfg = <50 0 218 0 218>;
						};
						group@2 {
							ucast_queue = <222>;
							ucast_loop_pri = <16>;
							ucast_max_pri = <4>;
							cfg = <51 0 222 0 222>;
						};
					};
				};
				port@1 {
					port_id = <1>;
					l1scheduler {
						group@0 {
							sp = <0>;
							cfg = <0 0 0 0>;
						};
					};
					l0scheduler {
						group@0 {
							ucast_queue = <0>;
							ucast_loop_pri = <8>;
							mcast_queue = <272>;
							mcast_loop_pri = <4>;
							cfg = <0 0 0 0 0>;
						};
					};
				};
				port@2 {
					port_id = <2>;
					l1scheduler {
						group@0 {
							sp = <2>;
							cfg = <0 2 0 2>;
						};
					};
					l0scheduler {
						group@0 {
							ucast_queue = <8>;
							ucast_loop_pri = <8>;
							mcast_queue = <276>;
							mcast_loop_pri = <4>;
							cfg = <2 0 8 0 8>;
						};
					};
				};
				port@3 {
					port_id = <3>;
					l1scheduler {
						group@0 {
							sp = <4>;
							cfg = <0 4 0 4>;
						};
					};
					l0scheduler {
						group@0 {
							ucast_queue = <16>;
							ucast_loop_pri = <8>;
							mcast_queue = <280>;
							mcast_loop_pri = <4>;
							cfg = <4 0 16 0 16>;
						};
					};
				};
				port@4 {
					port_id = <4>;
					l1scheduler {
						group@0 {
							sp = <6>;
							cfg = <0 6 0 6>;
						};
					};
					l0scheduler {
						group@0 {
							ucast_queue = <24>;
							ucast_loop_pri = <8>;
							mcast_queue = <284>;
							mcast_loop_pri = <4>;
							cfg = <6 0 24 0 24>;
						};
					};
				};
				port@5 {
					port_id = <5>;
					l1scheduler {
						group@0 {
							sp = <8>;
							cfg = <0 8 0 8>;
						};
					};
					l0scheduler {
						group@0 {
							ucast_queue = <32>;
							ucast_loop_pri = <8>;
							mcast_queue = <288>;
							mcast_loop_pri = <4>;
							cfg = <8 0 32 0 32>;
						};
					};
				};
				port@6 {
					port_id = <6>;
					l1scheduler {
						group@0 {
							sp = <10>;
							sp_loop_pri = <15>;
							sp_max_pri = <1>;
							cfg = <6 0 10 0 10>;
						};
					};
					l0scheduler {
						group@0 {
							ucast_queue = <40>;
							ucast_loop_pri = <120>;
							ucast_max_pri = <8>;
							mcast_queue = <292>;
							mcast_loop_pri = <4>;
							cfg = <10 0 40 0 40>;
						};
					};
				};
				port@7 {
					port_id = <7>;
					l1scheduler {
						group@0 {
							sp = <42>;
							sp_loop_pri = <2>;
							sp_max_pri = <1>;
							cfg = <0 42 0 42>;
						};
					};
					l0scheduler {
						group@0 {
							ucast_queue = <160>;
							ucast_loop_pri = <10>;
							ucast_max_pri = <8>;
							mcast_queue = <296>;
							mcast_loop_pri = <4>;
							cfg = <42 0 160 0 160>;
						};
					};
				};
			};
		};

		watchdog: non-sec@b017000 {
			compatible = "qcom,apss-wdt-ipq5210", "qcom,kpss-wdt";
			reg =  <0x0 0xb017000 0x0 0x1000>;
			clocks = <&sleep_clk>;
			timeout-sec = <30>;
			status = "okay";
		};
	};
};

&tlmm {
	uart1-state {
		bootph-all;
	};

	qspi_pinmux: nand {
		bootph-all;

		qspi_data {
			bootph-all;
			pins = "gpio0", "gpio1", "gpio2","gpio3";
			function = "qspi_data";
			drive-strength = <6>;
			bias-pull-up;
		};

		qspi_cs_n {
			bootph-all;
			pins = "gpio4";
			function = "qspi_cs";
			drive-strength = <6>;
			bias-pull-up;
		};

		qspi_clk {
			bootph-all;
			pins = "gpio5";
			function = "qspi_clk";
			drive-strength = <6>;
			bias-disable;
		};
        };

	sdc_default_state: sdc-default-state {
		bootph-all;

		clk-pins {
			bootph-all;
			pins = "gpio5";
			function = "sdc_clk";
			drive-strength = <8>;
			bias-disable;
		};

		cmd-pins {
			bootph-all;
			pins = "gpio4";
			function = "sdc_cmd";
			drive-strength = <8>;
			bias-pull-up;
		};

		data-pins {
			bootph-all;
			pins = "gpio0", "gpio1", "gpio2", "gpio3";
			function = "sdc_data";
			drive-strength = <8>;
			bias-pull-up;
		};
	};

	spi0_pinmux: spi0 {
		bootph-all;

		spi0_sclk {
			bootph-all;
			pins = "gpio6";
			function = "qup_se0_l2";
			drive-strength = <8>;
			bias-pull-down;
		};

		spi0_cs0 {
			bootph-all;
			pins = "gpio7";
			function = "qup_se0_l3";
			drive-strength = <8>;
			bias-pull-up;
		};

		spi0_miso {
			bootph-all;
			pins = "gpio8";
			function = "qup_se0_l0";
			drive-strength = <8>;
			bias-pull-down;
		};

		spi0_mosi {
			bootph-all;
			pins = "gpio9";
			function = "qup_se0_l1";
			drive-strength = <8>;
			bias-pull-down;
		};
	};

	mdio_pins: mdio-state {
		mux_0 {
			pins = "gpio26";
			function = "mdc_mst";
			drive-strength = <8>;
			bias-pull-up;
		};

		mux_1 {
			pins = "gpio27";
			function = "mdio_mst";
			drive-strength = <8>;
			bias-pull-up;
		};
	};
};

&sdhc {
	bootph-all;
	bus-width = <4>;
	max-frequency = <192000000>;
	mmc-ddr-1_8v;
	non-removable;
	pinctrl-0 = <&sdc_default_state>;
	pinctrl-names = "default";
	sdhci-caps-mask = <0x0 0x04000000>;
	sdhci-caps = <0x0 0x04000000>;
	resets = <&gcc GCC_SDCC_BCR>;
	reset-names = "bcr_rst";
	status = "okay";
};

&qupv3 {
	status = "okay";
	serial@1a84000 {
		bootph-all;
		pinctrl-0 = <&uart1_pins>;
		pinctrl-names = "default";
		qup-se-fw-load = <&uart1_fw>;
		status = "okay";
	};

	uart1_fw: uart_firmware@0 {
		bootph-all;
		compatible = "qcom,ipq5210-geni-uart-fw-v1", "qcom,geni-uart-fw-v1";
		reg = <0 0x01a84000 0 0x4000>;
		status = "okay";
	};

	serial@1a90000 {
		pinctrl-0 = <&uart2_pins>;
		pinctrl-names = "default";
		qup-se-fw-load = <&uart2_fw>;
		status = "okay";
	};

	uart2_fw: uart_firmware@1 {
		compatible = "qcom,ipq5210-geni-uart-fw-v1", "qcom,geni-uart-fw-v1";
		reg = <0 0x01a90000 0 0x4000>;
		status = "okay";
	};

	spi0: spi@1a80000 {
		bootph-all;
		compatible = "qcom-ipq5210-geni-spi";
		reg = <0 0x1a80000 0 0x4000>;
		reg-names = "se_phys";
		clocks = <&gcc GCC_QUPV3_SPI0_CLK>;
		clock-names = "se-spi-clk";
		clock-frequency = <50000000>;
		nor-blk-enable;
		status = "okay";
		#address-cells = <1>;
		#size-cells = <0>;
		qup-se-fw-load = <&spi0_fw>;

		pinctrl-0 = <&spi0_pinmux>;
		pinctrl-names = "default";

		nor-flash@0 {
			bootph-all;
			compatible = "jedec,spi-nor";
			reg = <0 0 0 0>;
			spi-max-frequency = <50000000>;
		};
	};

	spi0_fw: spi_firmware@0 {
		bootph-all;
		compatible = "qcom,ipq5210-geni-spi-fw-v1",
			     "qcom,geni-spi-fw-v1";
		reg = <0 0x1a80000 0 0x4000>;
		reg-names = "se_phys";
		status = "okay";
	};

	i2c0: i2c@1a88000 {
		compatible = "qcom,ipq5210-geni-i2c", "qcom,geni-i2c";
		reg = <0x0 0x1a88000 0x0 0x4000>;
		reg-names = "se_phys";
		assigned-clocks = <&gcc GCC_QUPV3_I2C0_CLK>;
		assigned-clock-rates = <32000000>;
		clocks = <&gcc GCC_QUPV3_I2C0_CLK>;
		clock-names = "se";
		clock-frequency = <400000>;
		qup-se-fw-load = <&i2c0_fw>;
		qcom,geni-se-clk-32mhz;
	};

	i2c0_fw: i2c0_firmware@0 {
		compatible = "qcom,ipq5210-geni-i2c-fw-v1",
			     "qcom,geni-i2c-fw-v1";
		reg = <0x0 0x1a88000 0x0 0x4000>;
		status = "okay";
	};

	i2c1: i2c@1a8c000 {
		compatible = "qcom,ipq5210-geni-i2c", "qcom,geni-i2c";
		reg = <0x0 0x1a8c000 0x0 0x4000>;
		reg-names = "se_phys";
		assigned-clocks = <&gcc GCC_QUPV3_I2C1_CLK>;
		assigned-clock-rates = <32000000>;
		clocks = <&gcc GCC_QUPV3_I2C1_CLK>;
		clock-names = "se";
		clock-frequency = <400000>;
		qup-se-fw-load = <&i2c1_fw>;
		qcom,geni-se-clk-32mhz;
	};

	i2c1_fw: i2c1_firmware@0 {
		compatible = "qcom,ipq5210-geni-i2c-fw-v1",
			     "qcom,geni-i2c-fw-v1";
		reg = <0x0 0x1a8c000 0x0 0x4000>;
		status = "okay";
	};
};
